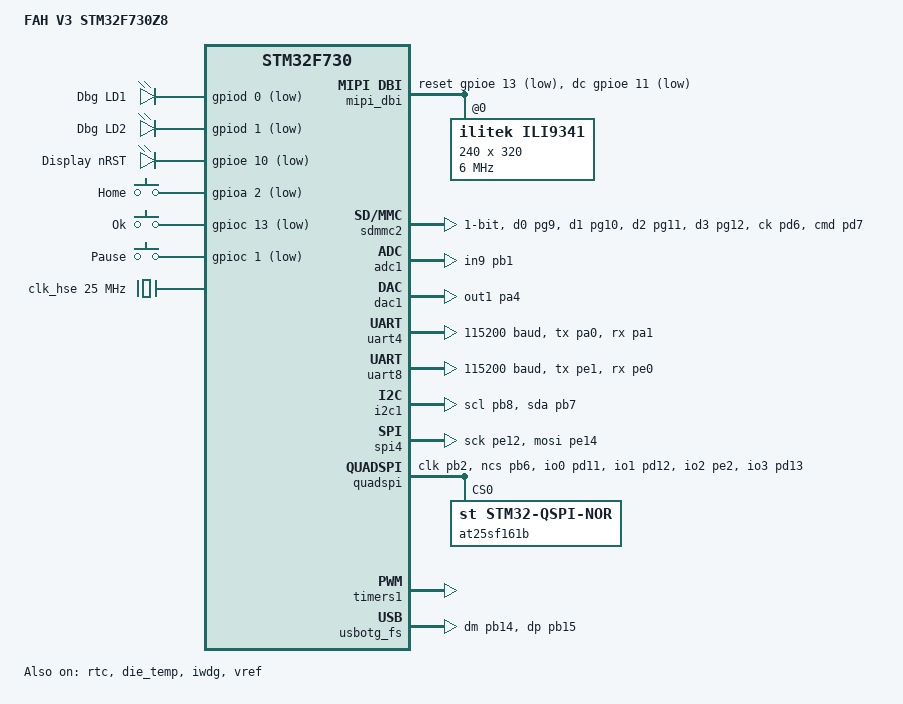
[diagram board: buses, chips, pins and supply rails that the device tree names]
/*
 * Copyright (c) 2023 Evan Perry Grove
 * Copyright (c) 2024 STMicroelectronics
 *
 * SPDX-License-Identifier: Apache-2.0
 */

/dts-v1/;
#include <st/f7/stm32f730.dtsi>
#include <st/f7/stm32f730z8tx-pinctrl.dtsi>
#include "arduino_r3_connector.dtsi"
#include <zephyr/dt-bindings/input/input-event-codes.h>

/ {
	model = "FAH V3 STM32F730Z8";
	compatible = "st,fahv3", "st,stm32f730";

	chosen {
		zephyr,console = &uart4;
		zephyr,shell-uart = &uart4;
		zephyr,sram = &sram0;
		zephyr,flash = &flash0;
		zephyr,code-partition = &slot0_partition;
		zephyr,flash-controller = &at25sf161b;
		zephyr,display = &ili9341;
	};

	leds {
		compatible = "gpio-leds";

		dbg_led: led_1 {
			gpios = <&gpiod 0 GPIO_ACTIVE_LOW>;
			label = "Dbg LD1";
		};

		dbg_led2: led_2 {
			gpios = <&gpiod 1 GPIO_ACTIVE_LOW>;
			label = "Dbg LD2";
		};

		displ_reset: rst_1 {
			gpios = <&gpioe 10 GPIO_ACTIVE_LOW>;
			label = "Display nRST";
		};
	};

	gpio_keys {
		compatible = "gpio-keys";

		home_button: button_1 {
			label = "Home";
			gpios = <&gpioa 2 GPIO_ACTIVE_LOW>;
			zephyr,code = <INPUT_KEY_0>;
		};

		ok_button: button_2 {
			label = "Ok";
			gpios = <&gpioc 13 GPIO_ACTIVE_LOW>;
			zephyr,code = <INPUT_KEY_1>;
		};

		pause_button: button_3 {
			label = "Pause";
			gpios = <&gpioc 1 GPIO_ACTIVE_LOW>;
			zephyr,code = <INPUT_KEY_2>;
		};
	};

	aliases {
		led0 = &dbg_led;
		sw0 = &ok_button;
		watchdog0 = &iwdg;
		die-temp0 = &die_temp;
		volt-sensor0 = &vref;
	};

	mipi_dbi {
		compatible = "zephyr,mipi-dbi-spi";
		dc-gpios = <&gpioe 11 GPIO_ACTIVE_LOW>;
		reset-gpios = <&gpioe 13 GPIO_ACTIVE_LOW>;
		spi-dev = <&spi4>;
		#address-cells = <1>;
		#size-cells = <0>;
		write-only;

		ili9341: ili9341@0 {
			compatible = "ilitek,ili9341";
			mipi-max-frequency = <6000000>; /* Max 50 Mbit/s */
			reg = <0>;
			pixel-format = <0>;//RGB666
			rotation = <0>;
			width = <240>;
			height = <320>;
			duplex = <0x800>; //SPI_HALF_DUPLEX;
			// Init
			pwctrla = [39 2c 00 34 02];//57 44 0 52 2];
			pwctrlb = [00 c1 30];//[0 139 48];
			timctrla = [85 00 78];//[137 17 122];
			timctrlb = [00 00];
			pwseqctrl = [64 03 12 81];//[85 1 35 1];
			pumpratioctrl = [20];//[16];
			frmctr1 = [00 18];
			disctrl = [08 82 27 04];
			vmctrl1 = [3e 28];
			vmctrl2 = [86];
			enable3g = [00];
			gamset = [01];
			pgamctrl = [0f 31 2b 0c 0e 08 4e f1 37 07 10 03 0e 09 00];
			ngamctrl = [00 0e 14 03 11 07 31 c1 48 08 0f 0c 31 36 0f];
		};
	};
};

&clk_hse {
	clock-frequency = <DT_FREQ_M(25)>;
	status = "okay";
};

&clk_hsi {
	status = "disabled";
};

&clk_lsi {
	status = "okay";
};

&pll {
	div-m = <25>;
	mul-n = <432>;
	div-p = <2>;
	div-q = <9>;
	clocks = <&clk_hse>;
	status = "okay";
};

&rcc {
	clocks = <&pll>;
	clock-frequency = <DT_FREQ_M(216)>;
	ahb-prescaler = <1>;
	apb1-prescaler = <4>;
	apb2-prescaler = <2>;
};

sdcard: &sdmmc2 {
	status = "okay";
	pinctrl-0 = <&sdmmc2_d0_pg9 &sdmmc2_d1_pg10
            &sdmmc2_d2_pg11 &sdmmc2_d3_pg12
            &sdmmc2_ck_pd6 &sdmmc2_cmd_pd7>;
	pinctrl-names = "default";
        bus-width = <1>; //default 1
	//cd-gpios = <&gpioi 15 GPIO_ACTIVE_LOW>;
	disk-name = "SD";
};

&adc1 {
	pinctrl-0 = <&adc1_in9_pb1>;
	pinctrl-names = "default";
	st,adc-clock-source = "SYNC";
	st,adc-prescaler = <2>;
	status = "okay";
};

&dac1 {
	pinctrl-0 = <&dac_out1_pa4>;
	pinctrl-names = "default";
	status = "okay";
};

&uart4 {
	pinctrl-0 = <&uart4_tx_pa0 &uart4_rx_pa1>;
	pinctrl-names = "default";
	current-speed = <115200>;
	status = "okay";
};

&uart8 {
	pinctrl-0 = <&uart8_tx_pe1 &uart8_rx_pe0>;
	pinctrl-names = "default";
	current-speed = <115200>;
	status = "okay";
};

&i2c1 {
	pinctrl-0 = <&i2c1_scl_pb8 &i2c1_sda_pb7>;
	pinctrl-names = "default";
	status = "okay";
};

&spi4 {
	#address-cells = <1>;
	#size-cells = <0>;
	pinctrl-0 = <&spi4_sck_pe12 &spi4_mosi_pe14>;
	cs-gpios = <&gpioe 15 (GPIO_ACTIVE_LOW | GPIO_PULL_UP)>;
	pinctrl-names = "default";
	status = "okay";
};

&quadspi {
	pinctrl-names = "default";
	pinctrl-0 = <&quadspi_clk_pb2 &quadspi_bk1_ncs_pb6
		&quadspi_bk1_io0_pf8 &quadspi_bk1_io1_pf9
		&quadspi_bk1_io2_pe2 &quadspi_bk1_io3_pf6>;
	flash-id = <1>;
	status = "okay";

	at25sf161b: qspi-nor-flash@0 {
		compatible = "st,stm32-qspi-nor";
		reg = <0>;
		qspi-max-frequency = <8000000>;
		size = <DT_SIZE_M(16)>; /* 2 MBytes */
		status = "okay";
		spi-bus-width = <4>;
		writeoc = "PP_1_1_4";
                jedec-id = [1f 86 01];
	};
};

&timers1 {
	st,prescaler = <10000>;
	status = "okay";

	pwm_screen: pwm {
		status = "okay";
		pinctrl-0 = <&tim1_ch1_pe9>;
		pinctrl-names = "default";
	};
};

zephyr_udc0: &usbotg_fs {
	pinctrl-0 = <&usb_otg_hs_dm_pb14 &usb_otg_hs_dp_pb15>;
	pinctrl-names = "default";
	status = "okay";
};

&rtc {
	clocks = <&rcc STM32_CLOCK(APB1, 28)>,
		 <&rcc STM32_SRC_LSI RTC_SEL(2)>;
	status = "okay";
};

&die_temp {
	status = "okay";
};

&iwdg {
	status = "okay";
};

&vref {
	status = "okay";
};

&quadspi {
	pinctrl-names = "default";
	pinctrl-0 = <&quadspi_clk_pb2 &quadspi_bk1_ncs_pb6
		     &quadspi_bk1_io0_pd11 &quadspi_bk1_io1_pd12
		     &quadspi_bk1_io2_pe2 &quadspi_bk1_io3_pd13>;
	flash-id = <1>;
	status = "okay";
};

&flash0 {
	partitions {
		compatible = "fixed-partitions";
		#address-cells = <1>;
		#size-cells = <1>;

		/* sectors 0-3 */
		boot_partition: partition@0 {
			label = "mcuboot";
			reg = <0x00000000 DT_SIZE_K(64)>;
			read-only;
		};

		/* sector 4 */
		storage_partition: partition@10000 {
			label = "storage";
			reg = <0x00010000 DT_SIZE_K(64)>;
		};

		/* sector 5 */
		slot0_partition: partition@20000 {
			label = "image-0";
			reg = <0x00020000 DT_SIZE_K(128)>;
		};

		/* sector 6 */
		slot1_partition: partition@40000 {
			label = "image-1";
			reg = <0x00040000 DT_SIZE_K(128)>;
		};

		/* sector 7 */
		scratch_partition: partition@60000 {
			label = "image-scratch";
			reg = <0x00060000 DT_SIZE_K(128)>;
		};
	};
};
